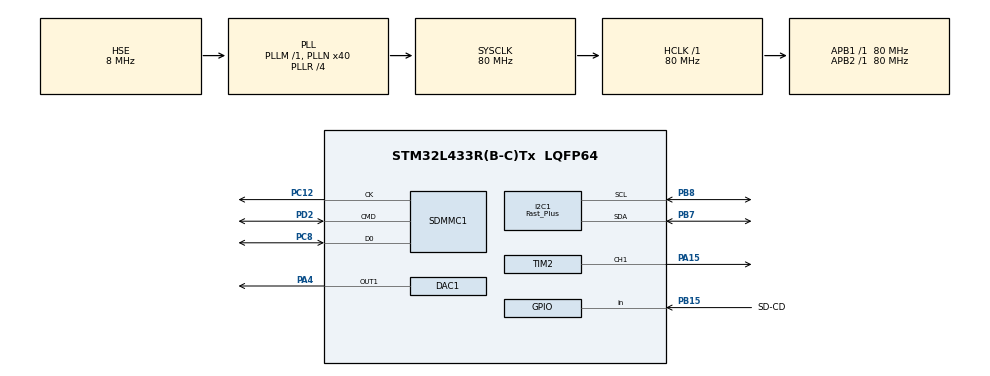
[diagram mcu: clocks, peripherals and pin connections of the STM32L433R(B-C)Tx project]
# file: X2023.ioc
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DAC1.DAC_Trigger-DAC_OUT1=DAC_TRIGGER_T6_TRGO
Dma.DAC_CH1.0.Direction=DMA_MEMORY_TO_PERIPH
Dma.DAC_CH1.0.Instance=DMA1_Channel3
Dma.DAC_CH1.0.MemDataAlignment=DMA_MDATAALIGN_BYTE
Dma.DAC_CH1.0.MemInc=DMA_MINC_ENABLE
Dma.DAC_CH1.0.Mode=DMA_CIRCULAR
Dma.DAC_CH1.0.PeriphDataAlignment=DMA_PDATAALIGN_WORD
Dma.DAC_CH1.0.PeriphInc=DMA_PINC_DISABLE
Dma.DAC_CH1.0.Priority=DMA_PRIORITY_HIGH
Dma.Request0=DAC_CH1
Dma.Request1=SDMMC1_RX
Dma.SDMMC1_RX.1.Direction=DMA_PERIPH_TO_MEMORY
Dma.SDMMC1_RX.1.Instance=DMA2_Channel4
Dma.SDMMC1_RX.1.MemDataAlignment=DMA_MDATAALIGN_WORD
Dma.SDMMC1_RX.1.MemInc=DMA_MINC_ENABLE
Dma.SDMMC1_RX.1.Mode=DMA_NORMAL
Dma.SDMMC1_RX.1.PeriphDataAlignment=DMA_PDATAALIGN_WORD
Dma.SDMMC1_RX.1.PeriphInc=DMA_PINC_DISABLE
Dma.SDMMC1_RX.1.Priority=DMA_PRIORITY_VERY_HIGH
FATFS.BSP.number=1
FATFS0.BSP.STBoard=false
FATFS0.BSP.api=Unknown
FATFS0.BSP.instance=PB15
FATFS0.BSP.ip=GPIO
FATFS0.BSP.mode=Input
FATFS0.BSP.name=Detect_SDIO
FATFS0.BSP.solution=PB15
FREERTOS.HEAP_NUMBER=4
FREERTOS.Tasks01=defaultTask,24,128,StartDefaultTask,Default,NULL,Dynamic,NULL,NULL
FREERTOS.configTOTAL_HEAP_SIZE=30000
I2C1.I2C_Speed_Mode=I2C_Fast_Plus
I2C1.Timing=0x00300F33
Mcu.Family=STM32L4
Mcu.Name=STM32L433R(B-C)Tx
Mcu.Package=LQFP64
NVIC.DMA1_Channel3_IRQn=true\:5\:0\:false\:false\:true\:true\:false\:true\:true
NVIC.DMA2_Channel4_IRQn=true\:5\:0\:false\:false\:true\:true\:false\:true\:true
NVIC.PriorityGroup=NVIC_PRIORITYGROUP_4
NVIC.SDMMC1_IRQn=true\:5\:0\:false\:false\:true\:true\:true\:true\:true
NVIC.TIM1_UP_TIM16_IRQn=true\:5\:0\:false\:false\:true\:false\:false\:true\:true
NVIC.TIM6_DAC_IRQn=true\:5\:0\:false\:false\:true\:true\:true\:true\:true
NVIC.TimeBase=TIM1_UP_TIM16_IRQn
NVIC.TimeBaseIP=TIM1
PA13\ (JTMS-SWDIO).Mode=Serial_Wire
PA13\ (JTMS-SWDIO).Signal=SYS_JTMS-SWDIO
PA14\ (JTCK-SWCLK).Mode=Serial_Wire
PA14\ (JTCK-SWCLK).Signal=SYS_JTCK-SWCLK
PA15\ (JTDI).Signal=S_TIM2_CH1
PA4.Signal=COMP_DAC11_group
PB15.GPIO_Label=SD-CD
PB15.Signal=GPIO_Input
PB7.GPIO_Pu=GPIO_PULLUP
PB7.Mode=I2C
PB7.Signal=I2C1_SDA
PB8.GPIO_Pu=GPIO_PULLUP
PB8.Mode=I2C
PB8.Signal=I2C1_SCL
PC12.Mode=SD_1_bit
PC12.Signal=SDMMC1_CK
PC8.Mode=SD_1_bit
PC8.Signal=SDMMC1_D0
PD2.Mode=SD_1_bit
PD2.Signal=SDMMC1_CMD
PH0-OSC_IN\ (PH0).Mode=HSE-External-Oscillator
PH0-OSC_IN\ (PH0).Signal=RCC_OSC_IN
PH1-OSC_OUT\ (PH1).Mode=HSE-External-Oscillator
PH1-OSC_OUT\ (PH1).Signal=RCC_OSC_OUT
ProjectManager.HeapSize=0x200
ProjectManager.StackSize=0x400
ProjectManager.TargetToolchain=Makefile
RCC.ADCFreq_Value=32000000
RCC.AHBFreq_Value=80000000
RCC.APB1Freq_Value=80000000
RCC.APB1TimFreq_Value=80000000
RCC.APB2Freq_Value=80000000
RCC.APB2TimFreq_Value=80000000
RCC.CK48CLockSelection=RCC_USBCLKSOURCE_HSI48
RCC.CortexFreq_Value=80000000
RCC.HCLKFreq_Value=80000000
RCC.HSE_VALUE=8000000
RCC.HSI48_VALUE=48000000
RCC.HSI_VALUE=16000000
RCC.LSE_VALUE=32768
RCC.MSIClockRange=RCC_MSIRANGE_2
RCC.MSI_VALUE=400000
RCC.PLLN=40
RCC.PLLQ=RCC_PLLQ_DIV8
RCC.PLLR=RCC_PLLR_DIV4
RCC.PLLSAI1Q=RCC_PLLQ_DIV8
RCC.PLLSourceVirtual=RCC_PLLSOURCE_HSE
RCC.SYSCLKFreq_VALUE=80000000
RCC.SYSCLKSource=RCC_SYSCLKSOURCE_PLLCLK
RCC.USBFreq_Value=48000000
RCC.VCOOutputFreq_Value=320000000
SDMMC1.ClockDiv=0
SH.COMP_DAC11_group.0=DAC1_OUT1,DAC_OUT1
SH.S_TIM2_CH1.0=TIM2_CH1,Output Compare1 CH1
TIM2.AutoReloadPreload=TIM_AUTORELOAD_PRELOAD_ENABLE
TIM2.Channel-Output\ Compare1\ CH1=TIM_CHANNEL_1
TIM2.OC1Preload=DISABLE
TIM2.OCMode_1=TIM_OCMODE_TOGGLE
TIM2.Period=1000000
TIM2.Prescaler=80
TIM2.TIM_MasterOutputTrigger=TIM_TRGO_RESET
TIM6.Period=624
TIM6.TIM_MasterOutputTrigger=TIM_TRGO_UPDATE
VP_FATFS_VS_SDIO.Mode=SDIO
VP_FREERTOS_VS_CMSIS_V2.Mode=CMSIS_V2
VP_SYS_VS_tim1.Mode=TIM1
VP_TIM2_VS_ClockSourceINT.Mode=Internal
VP_TIM6_VS_ClockSourceINT.Mode=Enable_Timer
board=custom

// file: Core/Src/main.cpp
/* USER CODE BEGIN Header */
/**
  ******************************************************************************
  * @file           : main.c
  * @brief          : Main program body
  ******************************************************************************
  * @attention
  *
  * Copyright (c) 2023 STMicroelectronics.
  * All rights reserved.
  *
  * This software is licensed under terms that can be found in the LICENSE file
  * in the root directory of this software component.
  * If no LICENSE file comes with this software, it is provided AS-IS.
  *
  ******************************************************************************
  */
/* USER CODE END Header */
#include "main.h"
#include "cmsis_os.h"
#include "fatfs.h"

/* USER CODE BEGIN Includes */
#include "ssd1306.h"
#include <stdio.h>
#include <string.h>
#include <stdarg.h>
#include "sdcard.h"

/* USER CODE END Includes */

/* USER CODE BEGIN PM */

const unsigned char image_data_bw_128x64_edited []  = {
	0xff, 0xff, 0xff, 0xfc, 0x7f, 0xff, 0xff, 0xff, 0xff, 0xff, 0xff, 0xff, 0xff, 0xff, 0xff, 0xff,
	0xff, 0xff, 0xff, 0xf9, 0x3f, 0xff, 0xff, 0xff, 0xff, 0xff, 0xff, 0xff, 0xff, 0xff, 0xff, 0xff,
	0xff, 0xff, 0xff, 0xf3, 0x9f, 0xff, 0xff, 0xff, 0xff, 0xff, 0xff, 0xff, 0xff, 0xff, 0xff, 0xff,
	0xff, 0xff, 0xff, 0xc7, 0xcf, 0xff, 0xff, 0xff, 0xff, 0xff, 0xff, 0xff, 0xff, 0xff, 0xff, 0xff,
	0xff, 0xff, 0xff, 0x9f, 0xe3, 0xff, 0xff, 0xff, 0xff, 0xff, 0xff, 0xff, 0xff, 0xff, 0xff, 0xff,
	0xff, 0xff, 0xfe, 0x7f, 0xf9, 0xff, 0xff, 0xff, 0xff, 0xff, 0xff, 0xff, 0xff, 0xff, 0xff, 0xff,
	0xff, 0xff, 0xff, 0x3f, 0xf9, 0xff, 0xff, 0xff, 0xff, 0xff, 0xff, 0xff, 0xff, 0xff, 0xff, 0xff,
	0xff, 0xff, 0xff, 0x9f, 0xf3, 0xff, 0xff, 0xff, 0xff, 0xff, 0xff, 0xff, 0xff, 0xff, 0xff, 0xff,
	0xff, 0xff, 0xff, 0xe7, 0xcf, 0xff, 0xff, 0xff, 0xff, 0xff, 0xff, 0xff, 0xff, 0xff, 0xff, 0xff,
	0xff, 0xff, 0xff, 0xf3, 0x1f, 0xff, 0xff, 0xff, 0xff, 0xff, 0xff, 0xff, 0xff, 0xff, 0xff, 0xff,
	0xff, 0xff, 0xff, 0xf8, 0x7f, 0xff, 0xff, 0xff, 0xff, 0xff, 0xff, 0xff, 0xff, 0xff, 0xff, 0xff,
	0xff, 0xff, 0xff, 0xf0, 0x8f, 0xff, 0xff, 0xff, 0xff, 0xff, 0xff, 0xff, 0xff, 0xff, 0xff, 0xff,
	0xff, 0xff, 0xff, 0xe3, 0xe3, 0xff, 0xff, 0xff, 0xff, 0xff, 0xff, 0xff, 0xff, 0xff, 0xff, 0xff,
	0xff, 0xff, 0xff, 0xe7, 0xf0, 0xff, 0xff, 0xff, 0xff, 0xff, 0xff, 0xff, 0xff, 0xff, 0xff, 0xff,
	0xff, 0xff, 0xff, 0x9f, 0xfc, 0x3f, 0xff, 0xff, 0xff, 0xff, 0xff, 0xff, 0xff, 0xff, 0xff, 0xff,
	0xff, 0xff, 0xff, 0x3f, 0xff, 0x8f, 0xff, 0xff, 0xff, 0xff, 0xff, 0xff, 0xff, 0xff, 0xff, 0xff,
	0xff, 0xff, 0xfe, 0x7f, 0xff, 0xe7, 0xff, 0xff, 0xff, 0xff, 0xff, 0xff, 0xff, 0xff, 0xff, 0xff,
	0xff, 0xff, 0xf8, 0x7f, 0xff, 0xf3, 0xff, 0xff, 0xff, 0xff, 0xff, 0xff, 0xff, 0xff, 0xff, 0xff,
	0xff, 0xff, 0xe3, 0xff, 0xff, 0xf9, 0xff, 0xff, 0xff, 0xff, 0xff, 0xff, 0xff, 0xff, 0xff, 0xff,
	0xff, 0xff, 0x8f, 0xff, 0xfc, 0x00, 0xff, 0xff, 0xff, 0xff, 0xff, 0xff, 0xff, 0xff, 0xff, 0xff,
	0xff, 0xff, 0x80, 0xff, 0xfc, 0xff, 0xff, 0xff, 0xff, 0xff, 0xff, 0xfc, 0x7f, 0xff, 0xff, 0xff,
	0xff, 0xff, 0xfe, 0xff, 0xfe, 0x3f, 0xff, 0xff, 0xff, 0xff, 0xff, 0xc3, 0x00, 0x7f, 0xff, 0xff,
	0xff, 0xff, 0xf8, 0xff, 0xff, 0x9f, 0xff, 0xff, 0xff, 0xff, 0xfe, 0x1f, 0xff, 0x1f, 0xff, 0xff,
	0xff, 0xff, 0xe3, 0xff, 0xff, 0xc7, 0xff, 0xff, 0xff, 0xff, 0xf9, 0xff, 0xff, 0xcf, 0xff, 0xff,
	0xff, 0xff, 0x8f, 0xff, 0xff, 0xf8, 0x7f, 0xff, 0xff, 0xff, 0xf7, 0xff, 0xff, 0xe7, 0xff, 0xff,
	0xff, 0xff, 0x3f, 0xff, 0xff, 0xff, 0x9f, 0xff, 0xff, 0xff, 0x8f, 0xff, 0xff, 0xf3, 0x01, 0xff,
	0xff, 0xfc, 0x7f, 0xff, 0xff, 0xff, 0xe7, 0xff, 0xff, 0xfc, 0x3f, 0xff, 0xff, 0xf0, 0xfc, 0x3f,
	0xff, 0xe1, 0xff, 0xff, 0xff, 0xff, 0xf3, 0xff, 0xff, 0xff, 0xff, 0xff, 0xff, 0xfe, 0x7f, 0x8f,
	0xff, 0xe0, 0x00, 0x7f, 0xff, 0xc0, 0x01, 0xff, 0xff, 0xe1, 0xff, 0xff, 0xff, 0xff, 0x3f, 0xa7,
	0xff, 0xff, 0xff, 0x7f, 0xff, 0xcf, 0xff, 0xff, 0xff, 0x8f, 0xff, 0xff, 0xff, 0xff, 0xcf, 0xf3,
	0xff, 0xff, 0xfc, 0x7f, 0xff, 0xe1, 0xff, 0xff, 0xff, 0x3f, 0xff, 0xff, 0xff, 0xff, 0xe7, 0x3b,
	0xff, 0xff, 0xf1, 0xff, 0xff, 0xf8, 0x7f, 0xff, 0xfe, 0x7f, 0xff, 0xff, 0xef, 0xff, 0xf7, 0xf9,
	0xff, 0xff, 0xc7, 0xff, 0xff, 0xfe, 0x1f, 0xff, 0xfc, 0xff, 0xff, 0xff, 0xcf, 0xff, 0xe3, 0xbd,
	0xff, 0xff, 0x1f, 0xff, 0xff, 0xff, 0xcf, 0xff, 0xf9, 0xff, 0xff, 0xff, 0x8f, 0xff, 0xf9, 0xdd,
	0xff, 0xfe, 0x7f, 0xff, 0xff, 0xff, 0xe7, 0xff, 0xf8, 0xff, 0xff, 0xff, 0x23, 0xff, 0xfd, 0xbd,
	0xff, 0xf8, 0xff, 0xff, 0xff, 0xff, 0xf1, 0xff, 0xfe, 0xff, 0xff, 0xfe, 0x36, 0xff, 0xfd, 0x7d,
	0xff, 0xe3, 0xff, 0xff, 0xff, 0xff, 0xf8, 0xff, 0xfe, 0xff, 0xff, 0xfe, 0xb3, 0xff, 0xfc, 0xfd,
	0xff, 0x8f, 0xff, 0xff, 0xff, 0xff, 0xfe, 0x7f, 0xfe, 0xff, 0xff, 0xfc, 0xe7, 0xff, 0xc3, 0xfd,
	0xfe, 0x3f, 0xff, 0xff, 0xff, 0xff, 0xff, 0x3f, 0xff, 0x7f, 0xff, 0xfb, 0xc5, 0xff, 0x3f, 0xfe,
	0xf9, 0xff, 0xff, 0xff, 0xff, 0xff, 0xff, 0x9f, 0xff, 0x7f, 0xff, 0xfc, 0xc5, 0xfe, 0x7f, 0xfe,
	0xf0, 0x00, 0x01, 0xff, 0xff, 0x00, 0x00, 0x0f, 0xff, 0x7f, 0xf8, 0x76, 0xe3, 0xfc, 0xff, 0xfc,
	0xff, 0xff, 0xfd, 0xff, 0xff, 0x7f, 0xff, 0xf3, 0xe1, 0x7f, 0x80, 0xf7, 0xeb, 0xf9, 0xff, 0xfc,
	0xff, 0xff, 0xfd, 0xff, 0xff, 0x7f, 0xff, 0xfc, 0xea, 0x7e, 0x7f, 0xff, 0xf1, 0xb7, 0xff, 0xfd,
	0xff, 0xff, 0xfd, 0xff, 0xff, 0x7f, 0xff, 0xfb, 0xec, 0xed, 0xff, 0xff, 0xfd, 0x9f, 0xff, 0xfb,
	0xff, 0xff, 0xfd, 0xff, 0xff, 0x7f, 0xff, 0xff, 0xe7, 0x73, 0xff, 0xf0, 0xff, 0xcf, 0xff, 0xff,
	0xff, 0xff, 0xfd, 0xff, 0xff, 0x7f, 0xff, 0xff, 0xe3, 0xbf, 0xff, 0xe0, 0xfb, 0xff, 0xff, 0xf7,
	0xff, 0xff, 0xfd, 0xff, 0xff, 0x7f, 0xff, 0xff, 0xcb, 0xff, 0x0f, 0xe3, 0xff, 0x7f, 0xff, 0xf7,
	0xff, 0xff, 0xfd, 0xff, 0xff, 0x7f, 0xff, 0xff, 0x19, 0xbc, 0x0f, 0xff, 0xf7, 0x7f, 0xff, 0xef,
	0xff, 0xff, 0xfd, 0xff, 0xff, 0x7f, 0xff, 0xff, 0xbc, 0x3c, 0x3f, 0xff, 0xf7, 0xff, 0xff, 0xdf,
	0xff, 0xff, 0xfd, 0xff, 0xff, 0x7f, 0xff, 0xff, 0xcf, 0xff, 0xff, 0xff, 0xf6, 0x7f, 0xff, 0x9f,
	0xff, 0xff, 0xfd, 0xff, 0xff, 0x7f, 0xff, 0xff, 0xe7, 0xff, 0xff, 0xff, 0xf6, 0xe7, 0xff, 0x7f,
	0xff, 0xff, 0xfd, 0xff, 0xff, 0x7f, 0xff, 0xff, 0xf3, 0xc0, 0xa0, 0x3f, 0xff, 0xb7, 0xfe, 0xff,
	0xff, 0xff, 0xfd, 0xff, 0xff, 0x7f, 0xff, 0xff, 0xfb, 0x1f, 0xff, 0x07, 0xf1, 0x77, 0xfd, 0xff,
	0xff, 0xff, 0xfd, 0xff, 0xff, 0x7f, 0xff, 0xff, 0xf8, 0x7f, 0xff, 0xe0, 0x61, 0xf1, 0xfb, 0xff,
	0xff, 0xff, 0xfd, 0xff, 0xff, 0x7f, 0xff, 0xff, 0xff, 0xff, 0xff, 0xff, 0x01, 0xf4, 0xe7, 0xff,
	0xff, 0xff, 0xfd, 0xff, 0xff, 0x7f, 0xff, 0xff, 0xff, 0xff, 0xff, 0xff, 0x00, 0xfe, 0x5f, 0xff,
	0xff, 0xff, 0xfd, 0xff, 0xff, 0x7f, 0xff, 0xff, 0xff, 0xff, 0xff, 0xff, 0x03, 0xfe, 0x7f, 0xff,
	0xff, 0xff, 0xfd, 0xff, 0xff, 0x7f, 0xff, 0xff, 0xff, 0xff, 0xff, 0xff, 0xff, 0xf4, 0xff, 0xff,
	0xff, 0xff, 0xfd, 0xff, 0xff, 0x7f, 0xff, 0xff, 0xff, 0xff, 0xff, 0xff, 0xff, 0x0f, 0xff, 0xff,
	0xff, 0xff, 0xfd, 0xff, 0xff, 0x7f, 0xff, 0xff, 0xff, 0xff, 0xff, 0xf9, 0xf0, 0x3f, 0xff, 0xff,
	0xff, 0xff, 0xfd, 0xff, 0xff, 0x7f, 0xff, 0xff, 0xff, 0xff, 0xff, 0xf2, 0x47, 0xff, 0xff, 0xff,
	0xff, 0xff, 0xfd, 0xff, 0xff, 0x7f, 0xff, 0xff, 0xff, 0xff, 0xff, 0xff, 0x1f, 0xff, 0xff, 0xff,
	0xff, 0xff, 0xfd, 0xff, 0xff, 0x7f, 0xff, 0xff, 0xff, 0xff, 0xff, 0xff, 0xff, 0xff, 0xff, 0xff,
	0xff, 0xff, 0xfd, 0xff, 0xff, 0x3f, 0xff, 0xff, 0xff, 0xff, 0xff, 0xff, 0xff, 0xff, 0xff, 0xff
};

/* USER CODE END 5 */

/* USER CODE END PM */

DAC_HandleTypeDef hdac1;
DMA_HandleTypeDef hdma_dac_ch1;

I2C_HandleTypeDef hi2c1;

SD_HandleTypeDef hsd1;
DMA_HandleTypeDef hdma_sdmmc1_rx;

TIM_HandleTypeDef htim2;
TIM_HandleTypeDef htim6;

/* Definitions for defaultTask */
osThreadId_t defaultTaskHandle;
const osThreadAttr_t defaultTask_attributes = {
  .name = "defaultTask",
  .stack_size = 128 * 4,
  .priority = (osPriority_t) osPriorityNormal,
};
/* USER CODE BEGIN PV */
struct aggregated_data_ptr data_ptr;

/* USER CODE END PV */

void SystemClock_Config(void);
static void MX_GPIO_Init(void);
static void MX_DMA_Init(void);
static void MX_I2C1_Init(void);
static void MX_DAC1_Init(void);
static void MX_TIM2_Init(void);
static void MX_SDMMC1_SD_Init(void);
static void MX_TIM6_Init(void);
void StartDefaultTask(void *argument);

int main(void)
{
  /* USER CODE BEGIN 1 */
  Storage::sdCard = new Storage::SDCard();
  Storage::wav = new Storage::WAV();

  data_ptr.sd_card = Storage::sdCard;
  data_ptr.wav = Storage::wav;
  data_ptr.hdac = &hdac1;
  /* USER CODE END 1 */

  /* MCU Configuration--------------------------------------------------------*/

  /* Reset of all peripherals, Initializes the Flash interface and the Systick. */
  HAL_Init();

  /* Configure the system clock */
  SystemClock_Config();

  /* Initialize all configured peripherals */
  MX_GPIO_Init();
  MX_DMA_Init();
  MX_I2C1_Init();
  MX_FATFS_Init();
  MX_DAC1_Init();
  MX_TIM2_Init();
  MX_SDMMC1_SD_Init();
  MX_TIM6_Init();

  /* Init scheduler */
  osKernelInitialize();

  /* USER CODE BEGIN RTOS_SEMAPHORES */
  /* add semaphores, ... */

 Storage::wav->dac_dma_lock = osSemaphoreNew(1U, 1U, NULL);
  /* USER CODE END RTOS_SEMAPHORES */

  /* Create the thread(s) */
  /* creation of defaultTask */
  defaultTaskHandle = osThreadNew(StartDefaultTask, NULL, &defaultTask_attributes);

  /* USER CODE BEGIN RTOS_THREADS */
  /* add threads, ... */
  Storage::sdCard -> sdCardTaskHandle = osThreadNew(Storage::SDCard::sdCardWriteThread, (void*)&data_ptr, &Storage::sdCard->SDCardTaskHandleAttributes);

  /* USER CODE END RTOS_THREADS */

  /* USER CODE BEGIN RTOS_EVENTS */
  /* add events, ... */
  HAL_TIM_Base_Start(&htim2);
  HAL_TIM_Base_Start(&htim6);
  HAL_TIM_OC_Start(&htim2, TIM_CHANNEL_1);
  //DMA1_Channel3->CCR |= DMA_CCR_HTIE;

  /* USER CODE END RTOS_EVENTS */

  /* Start scheduler */
  osKernelStart();
  /* We should never get here as control is now taken by the scheduler */
  /* Infinite loop */
  while (1)
  {

  }
}

void SystemClock_Config(void)
{
  RCC_OscInitTypeDef RCC_OscInitStruct = {0};
  RCC_ClkInitTypeDef RCC_ClkInitStruct = {0};

  /** Configure the main internal regulator output voltage
  */
  if (HAL_PWREx_ControlVoltageScaling(PWR_REGULATOR_VOLTAGE_SCALE1) != HAL_OK)
  {
    Error_Handler();
  }

  /** Initializes the RCC Oscillators according to the specified parameters
  * in the RCC_OscInitTypeDef structure.
  */
  RCC_OscInitStruct.OscillatorType = RCC_OSCILLATORTYPE_HSI48|RCC_OSCILLATORTYPE_HSE;
  RCC_OscInitStruct.HSEState = RCC_HSE_ON;
  RCC_OscInitStruct.HSI48State = RCC_HSI48_ON;
  RCC_OscInitStruct.PLL.PLLState = RCC_PLL_ON;
  RCC_OscInitStruct.PLL.PLLSource = RCC_PLLSOURCE_HSE;
  RCC_OscInitStruct.PLL.PLLM = 1;
  RCC_OscInitStruct.PLL.PLLN = 40;
  RCC_OscInitStruct.PLL.PLLP = RCC_PLLP_DIV7;
  RCC_OscInitStruct.PLL.PLLQ = RCC_PLLQ_DIV8;
  RCC_OscInitStruct.PLL.PLLR = RCC_PLLR_DIV4;
  if (HAL_RCC_OscConfig(&RCC_OscInitStruct) != HAL_OK)
  {
    Error_Handler();
  }

  /** Initializes the CPU, AHB and APB buses clocks
  */
  RCC_ClkInitStruct.ClockType = RCC_CLOCKTYPE_HCLK|RCC_CLOCKTYPE_SYSCLK
                              |RCC_CLOCKTYPE_PCLK1|RCC_CLOCKTYPE_PCLK2;
  RCC_ClkInitStruct.SYSCLKSource = RCC_SYSCLKSOURCE_PLLCLK;
  RCC_ClkInitStruct.AHBCLKDivider = RCC_SYSCLK_DIV1;
  RCC_ClkInitStruct.APB1CLKDivider = RCC_HCLK_DIV1;
  RCC_ClkInitStruct.APB2CLKDivider = RCC_HCLK_DIV1;

  if (HAL_RCC_ClockConfig(&RCC_ClkInitStruct, FLASH_LATENCY_4) != HAL_OK)
  {
    Error_Handler();
  }
}

static void MX_DAC1_Init(void)
{

  DAC_ChannelConfTypeDef sConfig = {0};

  /** DAC Initialization
  */
  hdac1.Instance = DAC1;
  if (HAL_DAC_Init(&hdac1) != HAL_OK)
  {
    Error_Handler();
  }

  /** DAC channel OUT1 config
  */
  sConfig.DAC_SampleAndHold = DAC_SAMPLEANDHOLD_DISABLE;
  sConfig.DAC_Trigger = DAC_TRIGGER_T6_TRGO;
  sConfig.DAC_OutputBuffer = DAC_OUTPUTBUFFER_ENABLE;
  sConfig.DAC_ConnectOnChipPeripheral = DAC_CHIPCONNECT_DISABLE;
  sConfig.DAC_UserTrimming = DAC_TRIMMING_FACTORY;
  if (HAL_DAC_ConfigChannel(&hdac1, &sConfig, DAC_CHANNEL_1) != HAL_OK)
  {
    Error_Handler();
  }

}

static void MX_I2C1_Init(void)
{

  hi2c1.Instance = I2C1;
  hi2c1.Init.Timing = 0x00300F33;
  hi2c1.Init.OwnAddress1 = 0;
  hi2c1.Init.AddressingMode = I2C_ADDRESSINGMODE_7BIT;
  hi2c1.Init.DualAddressMode = I2C_DUALADDRESS_DISABLE;
  hi2c1.Init.OwnAddress2 = 0;
  hi2c1.Init.OwnAddress2Masks = I2C_OA2_NOMASK;
  hi2c1.Init.GeneralCallMode = I2C_GENERALCALL_DISABLE;
  hi2c1.Init.NoStretchMode = I2C_NOSTRETCH_DISABLE;
  if (HAL_I2C_Init(&hi2c1) != HAL_OK)
  {
    Error_Handler();
  }

  /** Configure Analogue filter
  */
  if (HAL_I2CEx_ConfigAnalogFilter(&hi2c1, I2C_ANALOGFILTER_ENABLE) != HAL_OK)
  {
    Error_Handler();
  }

  /** Configure Digital filter
  */
  if (HAL_I2CEx_ConfigDigitalFilter(&hi2c1, 0) != HAL_OK)
  {
    Error_Handler();
  }

  /** I2C Fast mode Plus enable
  */
  HAL_I2CEx_EnableFastModePlus(I2C_FASTMODEPLUS_I2C1);

}

static void MX_SDMMC1_SD_Init(void)
{

  hsd1.Instance = SDMMC1;
  hsd1.Init.ClockEdge = SDMMC_CLOCK_EDGE_RISING;
  hsd1.Init.ClockBypass = SDMMC_CLOCK_BYPASS_DISABLE;
  hsd1.Init.ClockPowerSave = SDMMC_CLOCK_POWER_SAVE_DISABLE;
  hsd1.Init.BusWide = SDMMC_BUS_WIDE_1B;
  hsd1.Init.HardwareFlowControl = SDMMC_HARDWARE_FLOW_CONTROL_DISABLE;
  hsd1.Init.ClockDiv = 0;

}

static void MX_TIM2_Init(void)
{

  TIM_ClockConfigTypeDef sClockSourceConfig = {0};
  TIM_MasterConfigTypeDef sMasterConfig = {0};
  TIM_OC_InitTypeDef sConfigOC = {0};

  htim2.Instance = TIM2;
  htim2.Init.Prescaler = 80;
  htim2.Init.CounterMode = TIM_COUNTERMODE_UP;
  htim2.Init.Period = 1000000;
  htim2.Init.ClockDivision = TIM_CLOCKDIVISION_DIV1;
  htim2.Init.AutoReloadPreload = TIM_AUTORELOAD_PRELOAD_ENABLE;
  if (HAL_TIM_Base_Init(&htim2) != HAL_OK)
  {
    Error_Handler();
  }
  sClockSourceConfig.ClockSource = TIM_CLOCKSOURCE_INTERNAL;
  if (HAL_TIM_ConfigClockSource(&htim2, &sClockSourceConfig) != HAL_OK)
  {
    Error_Handler();
  }
  if (HAL_TIM_OC_Init(&htim2) != HAL_OK)
  {
    Error_Handler();
  }
  sMasterConfig.MasterOutputTrigger = TIM_TRGO_RESET;
  sMasterConfig.MasterSlaveMode = TIM_MASTERSLAVEMODE_DISABLE;
  if (HAL_TIMEx_MasterConfigSynchronization(&htim2, &sMasterConfig) != HAL_OK)
  {
    Error_Handler();
  }
  sConfigOC.OCMode = TIM_OCMODE_TOGGLE;
  sConfigOC.Pulse = 0;
  sConfigOC.OCPolarity = TIM_OCPOLARITY_HIGH;
  sConfigOC.OCFastMode = TIM_OCFAST_DISABLE;
  if (HAL_TIM_OC_ConfigChannel(&htim2, &sConfigOC, TIM_CHANNEL_1) != HAL_OK)
  {
    Error_Handler();
  }
  HAL_TIM_MspPostInit(&htim2);

}

static void MX_TIM6_Init(void)
{

  TIM_MasterConfigTypeDef sMasterConfig = {0};

  htim6.Instance = TIM6;
  htim6.Init.Prescaler = 840;
  htim6.Init.CounterMode = TIM_COUNTERMODE_UP;
  htim6.Init.Period = 3;
  htim6.Init.AutoReloadPreload = TIM_AUTORELOAD_PRELOAD_DISABLE;
  if (HAL_TIM_Base_Init(&htim6) != HAL_OK)
  {
    Error_Handler();
  }
  sMasterConfig.MasterOutputTrigger = TIM_TRGO_UPDATE;
  sMasterConfig.MasterSlaveMode = TIM_MASTERSLAVEMODE_DISABLE;
  if (HAL_TIMEx_MasterConfigSynchronization(&htim6, &sMasterConfig) != HAL_OK)
  {
    Error_Handler();
  }

}

static void MX_DMA_Init(void)
{

  /* DMA controller clock enable */
  __HAL_RCC_DMA1_CLK_ENABLE();
  __HAL_RCC_DMA2_CLK_ENABLE();

  /* DMA interrupt init */
  /* DMA1_Channel3_IRQn interrupt configuration */
  HAL_NVIC_SetPriority(DMA1_Channel3_IRQn, 5, 0);
  HAL_NVIC_EnableIRQ(DMA1_Channel3_IRQn);
  /* DMA2_Channel4_IRQn interrupt configuration */
  HAL_NVIC_SetPriority(DMA2_Channel4_IRQn, 5, 0);
  HAL_NVIC_EnableIRQ(DMA2_Channel4_IRQn);

}

static void MX_GPIO_Init(void)
{
  GPIO_InitTypeDef GPIO_InitStruct = {0};

  /* GPIO Ports Clock Enable */
  __HAL_RCC_GPIOH_CLK_ENABLE();
  __HAL_RCC_GPIOA_CLK_ENABLE();
  __HAL_RCC_GPIOB_CLK_ENABLE();
  __HAL_RCC_GPIOC_CLK_ENABLE();
  __HAL_RCC_GPIOD_CLK_ENABLE();

  /*Configure GPIO pin : SD_CD_Pin */
  GPIO_InitStruct.Pin = SD_CD_Pin;
  GPIO_InitStruct.Mode = GPIO_MODE_INPUT;
  GPIO_InitStruct.Pull = GPIO_NOPULL;
  HAL_GPIO_Init(SD_CD_GPIO_Port, &GPIO_InitStruct);

}

void StartDefaultTask(void *argument)
{
  /* USER CODE BEGIN 5 */
  osDelay(200);
  ssd1306_Init();
  osDelay(200);
  ssd1306_Fill(Black);
  ssd1306_SetCursor(0, 0);
  ssd1306_WriteString("Merry Christmas", Font_7x10, White);
  ssd1306_SetCursor(34, 11);
  ssd1306_WriteString("Andi!", Font_7x10, White);
  ssd1306_UpdateScreen();
  osDelay(2500);
  ssd1306_DrawBitmap(0, 0, image_data_bw_128x64_edited, 128, 64, White);

  ssd1306_SetCursor(44, 0);
  ssd1306_WriteString("Merry Xmas", Font_7x10, Black);
  ssd1306_SetCursor(64, 11);
  ssd1306_WriteString("Andi!", Font_7x10, Black);
  ssd1306_UpdateScreen();
  while (1);

  /* USER CODE END 5 */
}

void HAL_TIM_PeriodElapsedCallback(TIM_HandleTypeDef *htim)
{
  if (htim->Instance == TIM1) {
    HAL_IncTick();
  }
}

void Error_Handler(void)
{
  __disable_irq();
  while (1)
  {
  }
}
